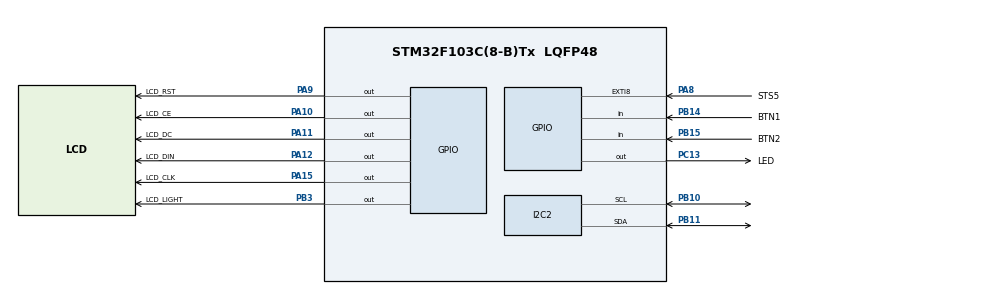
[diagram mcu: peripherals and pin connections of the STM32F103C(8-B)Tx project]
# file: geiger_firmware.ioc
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Mcu.Family=STM32F1
PA11.GPIO_Speed=GPIO_SPEED_FREQ_HIGH
PB10.Mode=I2C
PA10.GPIO_PuPd=GPIO_PULLDOWN
PA9.GPIO_Label=LCD_RST
PB14.GPIO_Label=BTN1
PC13-TAMPER-RTC.Signal=GPIO_Output
VP_RTC_VS_RTC_Activate.Mode=RTC_Enabled
PA11.GPIO_Label=LCD_DC
PA11.GPIO_PuPd=GPIO_PULLDOWN
PB11.Signal=I2C2_SDA
PB15.Signal=GPIO_Input
PA9.GPIO_PuPd=GPIO_PULLDOWN
PA12.GPIO_Label=LCD_DIN
PB3.GPIO_Speed=GPIO_SPEED_FREQ_HIGH
ProjectManager.StackSize=0x400
PA13.Signal=SYS_JTMS-SWDIO
PA15.GPIO_Label=LCD_CLK
PA12.Signal=GPIO_Output
PA8.GPIO_Label=STS5
PB11.Mode=I2C
ProjectManager.TargetToolchain=STM32CubeIDE
RCC.HCLKFreq_Value=8000000
RCC.APB2TimFreq_Value=8000000
PA9.Signal=GPIO_Output
RCC.USBFreq_Value=8000000
RCC.AHBFreq_Value=8000000
PB10.Signal=I2C2_SCL
PB14.Signal=GPIO_Input
board=custom
PC13-TAMPER-RTC.GPIO_Label=LED
RCC.APB2Freq_Value=8000000
PB3.GPIO_PuPd=GPIO_PULLDOWN
PB15.GPIO_Label=BTN2
PA14.Mode=Serial_Wire
TIM3.Prescaler=80 - 1
PA10.GPIO_Label=LCD_CE
PA8.Signal=GPXTI8
PA13.Mode=Serial_Wire
Mcu.Name=STM32F103C(8-B)Tx
PB3.Signal=GPIO_Output
Mcu.Package=LQFP48
PB14.GPIO_PuPd=GPIO_PULLDOWN
PB15.GPIO_PuPd=GPIO_PULLDOWN
PA8.GPIO_ModeDefaultEXTI=GPIO_MODE_IT_FALLING
PA15.GPIO_Speed=GPIO_SPEED_FREQ_HIGH
PA11.Signal=GPIO_Output
NVIC.EXTI9_5_IRQn=true\:0\:0\:false\:false\:true\:true\:true
PA10.Signal=GPIO_Output
PA14.Signal=SYS_JTCK-SWCLK
VP_RTC_VS_RTC_Calendar.Mode=RTC_Calendar
PA15.Signal=GPIO_Output
ProjectManager.HeapSize=0x200
PA10.GPIO_Speed=GPIO_SPEED_FREQ_HIGH
NVIC.PriorityGroup=NVIC_PRIORITYGROUP_4
PA15.GPIO_PuPd=GPIO_PULLDOWN
RCC.APB1TimFreq_Value=8000000
PA9.GPIO_Speed=GPIO_SPEED_FREQ_HIGH
PA12.GPIO_PuPd=GPIO_PULLDOWN
RCC.APB1Freq_Value=8000000
VP_TIM3_VS_ClockSourceINT.Mode=Internal
PA12.GPIO_Speed=GPIO_SPEED_FREQ_HIGH
PB3.GPIO_Label=LCD_LIGHT

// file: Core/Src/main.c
/* USER CODE BEGIN Header */
/**
  ******************************************************************************
  * @file           : main.c
  * @brief          : Main program body
  ******************************************************************************
  * @attention
  *
  * <h2><center>&copy; Copyright (c) 2021 STMicroelectronics.
  * All rights reserved.</center></h2>
  *
  * This software component is licensed by ST under BSD 3-Clause license,
  * the "License"; You may not use this file except in compliance with the
  * License. You may obtain a copy of the License at:
  *                        opensource.org/licenses/BSD-3-Clause
  *
  ******************************************************************************
  */
/* USER CODE END Header */
#include "main.h"

/* USER CODE BEGIN Includes */
#include "nokia5110_LCD.h"
#include <stdio.h>
/* USER CODE END Includes */

I2C_HandleTypeDef hi2c2;

RTC_HandleTypeDef hrtc;

TIM_HandleTypeDef htim3;

/* USER CODE BEGIN PV */
/* sts5 */
uint32_t sts5_counter = 0;
uint32_t sts5_counter_minute = 0;
uint32_t sts5_counter_second = 0;
/* rtc */
RTC_TimeTypeDef RtcTime;
uint16_t CompareSeconds;
/* array for output */
char Message[64];
/* USER CODE END PV */

void SystemClock_Config(void);
static void MX_GPIO_Init(void);
static void MX_I2C2_Init(void);
static void MX_RTC_Init(void);
static void MX_TIM3_Init(void);

/* USER CODE BEGIN 0 */
void SetRTC(void);
void ClearCounter(void);
/* USER CODE END 0 */

int main(void)
{

  /* MCU Configuration--------------------------------------------------------*/

  /* Reset of all peripherals, Initializes the Flash interface and the Systick. */
  HAL_Init();

  /* Configure the system clock */
  SystemClock_Config();

  /* Initialize all configured peripherals */
  MX_GPIO_Init();
  MX_I2C2_Init();
  MX_RTC_Init();
  MX_TIM3_Init();
  /* USER CODE BEGIN 2 */

  /* Initialize LCD pins */
  LCD_setRST(GPIOA, LCD_RST_Pin);
  LCD_setCE(GPIOA, LCD_CE_Pin);
  LCD_setDC(GPIOA, LCD_DC_Pin);
  LCD_setDIN(GPIOA, LCD_DIN_Pin);
  LCD_setCLK(GPIOA, LCD_CLK_Pin);
  /* Init Display */
  LCD_init();
  // Start timer
  HAL_TIM_Base_Start(&htim3);

  // flags for menu interface
  uint8_t select = 0;
  uint8_t select_item = 0;
  /* USER CODE END 2 */

  /* Infinite loop */
  /* USER CODE BEGIN WHILE */
  while (1)
  {
	  /* USER CODE BEGIN 3 */
	  switch(select)
	  {
	  case 0:
		  /******************************************************************/
		  /* 					DASHBOARD SECTION BEGIN						*/
		  /******************************************************************/
		  while(1){
			  // Get RTC time
			  HAL_RTC_GetTime(&hrtc, &RtcTime, RTC_FORMAT_BIN);
			  sprintf(Message, "TIME: %02d:%02d:%02d", RtcTime.Hours, RtcTime.Minutes, RtcTime.Seconds);
			  LCD_print(Message, 0, 0);

			  // total count
			  if(sts5_counter < 99999999){
				  sprintf(Message, "CT  : %lu        ", sts5_counter);
				  LCD_print(Message, 0, 1);
			  }else if(sts5_counter >= 99999999){
				  // reach maximum value for total counter
				  sprintf(Message, "CT  :    ERROR");
				  LCD_print(Message, 0, 1);
			  }

			  // count per minute
			  if(sts5_counter_minute < 99999999){
				  sprintf(Message, "CPM : %lu        ", sts5_counter_minute*60);
				  LCD_print(Message, 0, 2);
			  }else if(sts5_counter_minute >= 99999999){
				  // reach maximum value for count per minute
				  sprintf(Message, "CPM :    ERROR");
				  LCD_print(Message, 0, 2);
			  }

			  // count per second
			  if(sts5_counter_second < 99999999){
				  sprintf(Message, "CPS : %lu        ", sts5_counter_second);
				  LCD_print(Message, 0, 3);
			  }else if(sts5_counter_second >= 99999999){
				  // reach maximum value for count per second
				  sprintf(Message, "CPS :    ERROR");
				  LCD_print(Message, 0, 3);
			  }

			  // 1 second clearing variables
			  if(RtcTime.Seconds != CompareSeconds)
			  {
				  CompareSeconds = RtcTime.Seconds;
				  // count per second reset after 1 seconds
				  sts5_counter_second = 0;
				  sts5_counter_minute = 0;
			  }

			  // hr
			  sprintf(Message, "--------------");
			  LCD_print(Message, 0, 4);

			  // hint for buttons
			  sprintf(Message, " MENU         ");
			  LCD_print(Message, 0, 5);

			  // go to menu section from dashboard
			  if(GPIO_PIN_SET == HAL_GPIO_ReadPin(GPIOB, BTN1_Pin))
			  {
				  while(GPIO_PIN_SET == HAL_GPIO_ReadPin(GPIOB, BTN1_Pin))
				  {}
				  select = 1;
				  break;
			  }
		  }
		  /******************************************************************/
		  /* 					DASHBOARD SECTION END						*/
		  /******************************************************************/
		  break;

	  case 1:
		  /******************************************************************/
		  /* 					MENU SECTION BEGIN							*/
		  /******************************************************************/
		  LCD_clrScr();
		  while(1){
			  if(select_item == 0){
				  sprintf(Message, "Time reset");
				  LCD_invertText(1);
				  LCD_print(Message, 0, 0);
				  LCD_invertText(0);
			  }else if(select_item != 0){
				  sprintf(Message, "Time reset");
				  LCD_print(Message, 0, 0);
			  }

			  if(select_item == 1){
				  LCD_invertText(1);
				  sprintf(Message, "Count reset");
				  LCD_print(Message, 0, 1);
				  LCD_invertText(0);
			  }else if(select_item != 1){
				  sprintf(Message, "Count reset");
				  LCD_print(Message, 0, 1);
			  }

			  if(select_item == 2){
				  LCD_invertText(1);
				  sprintf(Message, "All reset");
				  LCD_print(Message, 0, 2);
				  LCD_invertText(0);
			  }else if(select_item != 2){
				  sprintf(Message, "All reset");
				  LCD_print(Message, 0, 2);
			  }

			  if(select_item == 3){
				  LCD_invertText(1);
				  sprintf(Message, "Back");
				  LCD_print(Message, 0, 3);
				  LCD_invertText(0);
			  }else if(select_item != 3){
				  sprintf(Message, "Back");
				  LCD_print(Message, 0, 3);
			  }

			  // hr
			  sprintf(Message, "--------------");
			  LCD_print(Message, 0, 4);

			  // hint for buttons
			  sprintf(Message, " SELECT    OK ");
			  LCD_print(Message, 0, 5);

			  if(GPIO_PIN_SET == HAL_GPIO_ReadPin(GPIOB, BTN1_Pin))
			  {
				  while(GPIO_PIN_SET == HAL_GPIO_ReadPin(GPIOB, BTN1_Pin))
				  {}
				  if(GPIO_PIN_RESET == HAL_GPIO_ReadPin(GPIOB, BTN1_Pin)){
					  select_item++;
					  if(select_item > 3){
						  select_item = 0;
					  }
				  }
			  }

			  if(GPIO_PIN_SET == HAL_GPIO_ReadPin(GPIOB, BTN2_Pin))
			  {
				  while(GPIO_PIN_SET == HAL_GPIO_ReadPin(GPIOB, BTN2_Pin))
				  {}
				  if(select_item == 0){
					  SetRTC();
				  }else if(select_item == 1){
					  ClearCounter();
				  }else if(select_item == 2){
					  SetRTC();
					  ClearCounter();
				  }else if(select_item == 3){
					  // back to main, do nothing
				  }
				  select = 0;
			  	  select_item = 0;
			  	  LCD_clrScr();
				  break;
			  }
		  }
		  /******************************************************************/
		  /* 					MENU SECTION END							*/
		  /******************************************************************/
		  break;
	  } // end switch
	  /* USER CODE END 3 */
  }
    /* USER CODE END WHILE */
}

void SystemClock_Config(void)
{
  RCC_OscInitTypeDef RCC_OscInitStruct = {0};
  RCC_ClkInitTypeDef RCC_ClkInitStruct = {0};
  RCC_PeriphCLKInitTypeDef PeriphClkInit = {0};

  /** Initializes the RCC Oscillators according to the specified parameters
  * in the RCC_OscInitTypeDef structure.
  */
  RCC_OscInitStruct.OscillatorType = RCC_OSCILLATORTYPE_HSI|RCC_OSCILLATORTYPE_LSI;
  RCC_OscInitStruct.HSIState = RCC_HSI_ON;
  RCC_OscInitStruct.HSICalibrationValue = RCC_HSICALIBRATION_DEFAULT;
  RCC_OscInitStruct.LSIState = RCC_LSI_ON;
  RCC_OscInitStruct.PLL.PLLState = RCC_PLL_NONE;
  if (HAL_RCC_OscConfig(&RCC_OscInitStruct) != HAL_OK)
  {
    Error_Handler();
  }
  /** Initializes the CPU, AHB and APB buses clocks
  */
  RCC_ClkInitStruct.ClockType = RCC_CLOCKTYPE_HCLK|RCC_CLOCKTYPE_SYSCLK
                              |RCC_CLOCKTYPE_PCLK1|RCC_CLOCKTYPE_PCLK2;
  RCC_ClkInitStruct.SYSCLKSource = RCC_SYSCLKSOURCE_HSI;
  RCC_ClkInitStruct.AHBCLKDivider = RCC_SYSCLK_DIV1;
  RCC_ClkInitStruct.APB1CLKDivider = RCC_HCLK_DIV1;
  RCC_ClkInitStruct.APB2CLKDivider = RCC_HCLK_DIV1;

  if (HAL_RCC_ClockConfig(&RCC_ClkInitStruct, FLASH_LATENCY_0) != HAL_OK)
  {
    Error_Handler();
  }
  PeriphClkInit.PeriphClockSelection = RCC_PERIPHCLK_RTC;
  PeriphClkInit.RTCClockSelection = RCC_RTCCLKSOURCE_LSI;
  if (HAL_RCCEx_PeriphCLKConfig(&PeriphClkInit) != HAL_OK)
  {
    Error_Handler();
  }
}

static void MX_I2C2_Init(void)
{

  hi2c2.Instance = I2C2;
  hi2c2.Init.ClockSpeed = 100000;
  hi2c2.Init.DutyCycle = I2C_DUTYCYCLE_2;
  hi2c2.Init.OwnAddress1 = 0;
  hi2c2.Init.AddressingMode = I2C_ADDRESSINGMODE_7BIT;
  hi2c2.Init.DualAddressMode = I2C_DUALADDRESS_DISABLE;
  hi2c2.Init.OwnAddress2 = 0;
  hi2c2.Init.GeneralCallMode = I2C_GENERALCALL_DISABLE;
  hi2c2.Init.NoStretchMode = I2C_NOSTRETCH_DISABLE;
  if (HAL_I2C_Init(&hi2c2) != HAL_OK)
  {
    Error_Handler();
  }

}

static void MX_RTC_Init(void)
{

  RTC_TimeTypeDef sTime = {0};
  RTC_DateTypeDef DateToUpdate = {0};

  /** Initialize RTC Only
  */
  hrtc.Instance = RTC;
  hrtc.Init.AsynchPrediv = RTC_AUTO_1_SECOND;
  hrtc.Init.OutPut = RTC_OUTPUTSOURCE_ALARM;
  if (HAL_RTC_Init(&hrtc) != HAL_OK)
  {
    Error_Handler();
  }

  /** Initialize RTC and set the Time and Date
  */
  sTime.Hours = 0x0;
  sTime.Minutes = 0x0;
  sTime.Seconds = 0x0;

  if (HAL_RTC_SetTime(&hrtc, &sTime, RTC_FORMAT_BCD) != HAL_OK)
  {
    Error_Handler();
  }
  DateToUpdate.WeekDay = RTC_WEEKDAY_MONDAY;
  DateToUpdate.Month = RTC_MONTH_JANUARY;
  DateToUpdate.Date = 0x1;
  DateToUpdate.Year = 0x0;

  if (HAL_RTC_SetDate(&hrtc, &DateToUpdate, RTC_FORMAT_BCD) != HAL_OK)
  {
    Error_Handler();
  }

}

static void MX_TIM3_Init(void)
{

  TIM_ClockConfigTypeDef sClockSourceConfig = {0};
  TIM_MasterConfigTypeDef sMasterConfig = {0};

  htim3.Instance = TIM3;
  htim3.Init.Prescaler = 80 - 1;
  htim3.Init.CounterMode = TIM_COUNTERMODE_UP;
  htim3.Init.Period = 65535;
  htim3.Init.ClockDivision = TIM_CLOCKDIVISION_DIV1;
  htim3.Init.AutoReloadPreload = TIM_AUTORELOAD_PRELOAD_DISABLE;
  if (HAL_TIM_Base_Init(&htim3) != HAL_OK)
  {
    Error_Handler();
  }
  sClockSourceConfig.ClockSource = TIM_CLOCKSOURCE_INTERNAL;
  if (HAL_TIM_ConfigClockSource(&htim3, &sClockSourceConfig) != HAL_OK)
  {
    Error_Handler();
  }
  sMasterConfig.MasterOutputTrigger = TIM_TRGO_RESET;
  sMasterConfig.MasterSlaveMode = TIM_MASTERSLAVEMODE_DISABLE;
  if (HAL_TIMEx_MasterConfigSynchronization(&htim3, &sMasterConfig) != HAL_OK)
  {
    Error_Handler();
  }

}

static void MX_GPIO_Init(void)
{
  GPIO_InitTypeDef GPIO_InitStruct = {0};

  /* GPIO Ports Clock Enable */
  __HAL_RCC_GPIOC_CLK_ENABLE();
  __HAL_RCC_GPIOB_CLK_ENABLE();
  __HAL_RCC_GPIOA_CLK_ENABLE();

  /*Configure GPIO pin Output Level */
  HAL_GPIO_WritePin(LED_GPIO_Port, LED_Pin, GPIO_PIN_RESET);

  /*Configure GPIO pin Output Level */
  HAL_GPIO_WritePin(GPIOA, LCD_RST_Pin|LCD_CE_Pin|LCD_DC_Pin|LCD_DIN_Pin
                          |LCD_CLK_Pin, GPIO_PIN_RESET);

  /*Configure GPIO pin Output Level */
  HAL_GPIO_WritePin(LCD_LIGHT_GPIO_Port, LCD_LIGHT_Pin, GPIO_PIN_RESET);

  /*Configure GPIO pin : LED_Pin */
  GPIO_InitStruct.Pin = LED_Pin;
  GPIO_InitStruct.Mode = GPIO_MODE_OUTPUT_PP;
  GPIO_InitStruct.Pull = GPIO_NOPULL;
  GPIO_InitStruct.Speed = GPIO_SPEED_FREQ_LOW;
  HAL_GPIO_Init(LED_GPIO_Port, &GPIO_InitStruct);

  /*Configure GPIO pins : BTN1_Pin BTN2_Pin */
  GPIO_InitStruct.Pin = BTN1_Pin|BTN2_Pin;
  GPIO_InitStruct.Mode = GPIO_MODE_INPUT;
  GPIO_InitStruct.Pull = GPIO_PULLDOWN;
  HAL_GPIO_Init(GPIOB, &GPIO_InitStruct);

  /*Configure GPIO pin : STS5_Pin */
  GPIO_InitStruct.Pin = STS5_Pin;
  GPIO_InitStruct.Mode = GPIO_MODE_IT_FALLING;
  GPIO_InitStruct.Pull = GPIO_NOPULL;
  HAL_GPIO_Init(STS5_GPIO_Port, &GPIO_InitStruct);

  /*Configure GPIO pins : LCD_RST_Pin LCD_CE_Pin LCD_DC_Pin LCD_DIN_Pin
                           LCD_CLK_Pin */
  GPIO_InitStruct.Pin = LCD_RST_Pin|LCD_CE_Pin|LCD_DC_Pin|LCD_DIN_Pin
                          |LCD_CLK_Pin;
  GPIO_InitStruct.Mode = GPIO_MODE_OUTPUT_PP;
  GPIO_InitStruct.Pull = GPIO_PULLDOWN;
  GPIO_InitStruct.Speed = GPIO_SPEED_FREQ_HIGH;
  HAL_GPIO_Init(GPIOA, &GPIO_InitStruct);

  /*Configure GPIO pin : LCD_LIGHT_Pin */
  GPIO_InitStruct.Pin = LCD_LIGHT_Pin;
  GPIO_InitStruct.Mode = GPIO_MODE_OUTPUT_PP;
  GPIO_InitStruct.Pull = GPIO_PULLDOWN;
  GPIO_InitStruct.Speed = GPIO_SPEED_FREQ_HIGH;
  HAL_GPIO_Init(LCD_LIGHT_GPIO_Port, &GPIO_InitStruct);

  /* EXTI interrupt init*/
  HAL_NVIC_SetPriority(EXTI9_5_IRQn, 0, 0);
  HAL_NVIC_EnableIRQ(EXTI9_5_IRQn);

}

/* USER CODE BEGIN 4 */
void SetRTC(void)
{
	RTC_TimeTypeDef sTime = {0};

	/** Initialize RTC and set the Time
	*/
	sTime.Hours = 00;
	sTime.Minutes = 00;
	sTime.Seconds = 00;

	if (HAL_RTC_SetTime(&hrtc, &sTime, RTC_FORMAT_BIN) != HAL_OK)
	{
	  Error_Handler();
	}
}

void ClearCounter(void){
	sts5_counter = 0;
	sts5_counter_minute = 0;
	sts5_counter_second = 0;
}
/* USER CODE END 4 */

void Error_Handler(void)
{
  __disable_irq();
  while (1)
  {
  }
}

/************************ (C) COPYRIGHT STMicroelectronics *****END OF FILE****/
